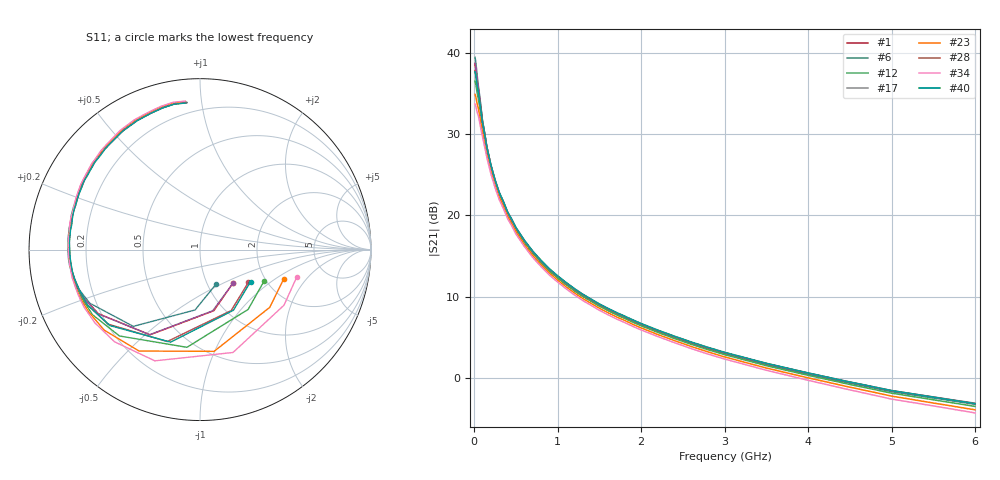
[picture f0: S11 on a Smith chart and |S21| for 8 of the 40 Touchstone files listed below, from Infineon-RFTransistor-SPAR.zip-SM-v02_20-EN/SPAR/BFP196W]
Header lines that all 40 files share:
! Infineon Technologies  Discrete & RF Semiconductors
! BFP196W
! Common Emitter S-Parameters:  Jan 2017
# GHz  S  MA  R  50
!  f  S11  S21  S12  S22
! GHz  MAG  ANG  MAG  ANG  MAG  ANG  MAG  ANG
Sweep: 10 MHz to 6 GHz
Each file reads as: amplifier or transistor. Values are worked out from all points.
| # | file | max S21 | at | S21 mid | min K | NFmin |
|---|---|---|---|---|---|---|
| 1 | BFP196W_w_noise_VCE_8.0V_IC_60mA.s2p | 38.6 dB | 10 MHz | 5.7 dB at 2.2 GHz | 0.15 | 1.47 dB |
| 2 | BFP196W_w_noise_VCE_8.0V_IC_65mA.s2p | 38.8 dB | 10 MHz | 5.7 dB at 2.2 GHz | 0.17 | 1.51 dB |
| 3 | BFP196W_w_noise_VCE_8.0V_IC_70mA.s2p | 39.0 dB | 10 MHz | 5.7 dB at 2.2 GHz | 0.16 | 1.58 dB |
| 4 | BFP196W_w_noise_VCE_8.0V_IC_75mA.s2p | 39.2 dB | 10 MHz | 5.7 dB at 2.2 GHz | 0.17 | 1.62 dB |
| 5 | BFP196W_w_noise_VCE_8.0V_IC_80mA.s2p | 39.4 dB | 10 MHz | 5.7 dB at 2.2 GHz | 0.17 | 1.68 dB |
| 6 | BFP196W_w_noise_VCE_8.0V_IC_85mA.s2p | 39.5 dB | 10 MHz | 5.7 dB at 2.2 GHz | 0.19 | 1.73 dB |
| 7 | BFP196W_w_noise_VCE_9.0V_IC_5.0mA.s2p | 24.3 dB | 10 MHz | 1.4 dB at 2.2 GHz | -0.03 | 0.90 dB |
| 8 | BFP196W_w_noise_VCE_9.0V_IC_10mA.s2p | 29.5 dB | 10 MHz | 3.6 dB at 2.2 GHz | 0.02 | 0.91 dB |
| 9 | BFP196W_w_noise_VCE_9.0V_IC_20mA.s2p | 33.8 dB | 10 MHz | 5.0 dB at 2.2 GHz | 0.01 | 1.02 dB |
| 10 | BFP196W_w_noise_VCE_9.0V_IC_25mA.s2p | 35.0 dB | 10 MHz | 5.3 dB at 2.2 GHz | 0.06 | 1.07 dB |
| 11 | BFP196W_w_noise_VCE_9.0V_IC_30mA.s2p | 35.9 dB | 10 MHz | 5.5 dB at 2.2 GHz | 0.09 | 1.13 dB |
| 12 | BFP196W_w_noise_VCE_9.0V_IC_35mA.s2p | 36.5 dB | 10 MHz | 5.6 dB at 2.2 GHz | 0.09 | 1.19 dB |
| 13 | BFP196W_w_noise_VCE_9.0V_IC_40mA.s2p | 37.1 dB | 10 MHz | 5.7 dB at 2.2 GHz | 0.12 | 1.24 dB |
| 14 | BFP196W_w_noise_VCE_9.0V_IC_45mA.s2p | 37.6 dB | 10 MHz | 5.7 dB at 2.2 GHz | 0.12 | 1.31 dB |
| 15 | BFP196W_w_noise_VCE_9.0V_IC_50mA.s2p | 37.9 dB | 10 MHz | 5.8 dB at 2.2 GHz | 0.11 | 1.36 dB |
| 16 | BFP196W_w_noise_VCE_9.0V_IC_60mA.s2p | 38.5 dB | 10 MHz | 5.8 dB at 2.2 GHz | 0.16 | 1.47 dB |
| 17 | BFP196W_w_noise_VCE_9.0V_IC_65mA.s2p | 38.8 dB | 10 MHz | 5.8 dB at 2.2 GHz | 0.16 | 1.51 dB |
| 18 | BFP196W_w_noise_VCE_9.0V_IC_70mA.s2p | 38.9 dB | 10 MHz | 5.8 dB at 2.2 GHz | 0.17 | 1.58 dB |
| 19 | BFP196W_w_noise_VCE_9.0V_IC_75mA.s2p | 39.1 dB | 10 MHz | 5.8 dB at 2.2 GHz | 0.18 | 1.62 dB |
| 20 | BFP196W_w_noise_VCE_10.V_IC_5.0mA.s2p | 24.3 dB | 10 MHz | 1.4 dB at 2.2 GHz | 0.01 | 0.90 dB |
| 21 | BFP196W_w_noise_VCE_10.V_IC_10mA.s2p | 29.5 dB | 10 MHz | 3.7 dB at 2.2 GHz | 0.04 | 0.91 dB |
| 22 | BFP196W_w_noise_VCE_10.V_IC_20mA.s2p | 33.8 dB | 10 MHz | 5.0 dB at 2.2 GHz | 0.07 | 1.02 dB |
| 23 | BFP196W_w_noise_VCE_10.V_IC_25mA.s2p | 34.9 dB | 10 MHz | 5.3 dB at 2.2 GHz | 0.08 | 1.07 dB |
| 24 | BFP196W_w_noise_VCE_10.V_IC_30mA.s2p | 35.8 dB | 10 MHz | 5.5 dB at 2.2 GHz | 0.11 | 1.13 dB |
| 25 | BFP196W_w_noise_VCE_10.V_IC_35mA.s2p | 36.5 dB | 10 MHz | 5.6 dB at 2.2 GHz | 0.10 | 1.19 dB |
| 26 | BFP196W_w_noise_VCE_10.V_IC_40mA.s2p | 37.0 dB | 10 MHz | 5.7 dB at 2.2 GHz | 0.14 | 1.24 dB |
| 27 | BFP196W_w_noise_VCE_10.V_IC_45mA.s2p | 37.5 dB | 10 MHz | 5.8 dB at 2.2 GHz | 0.16 | 1.31 dB |
| 28 | BFP196W_w_noise_VCE_10.V_IC_50mA.s2p | 37.8 dB | 10 MHz | 5.8 dB at 2.2 GHz | 0.16 | 1.36 dB |
| 29 | BFP196W_w_noise_VCE_10.V_IC_60mA.s2p | 38.4 dB | 10 MHz | 5.9 dB at 2.2 GHz | 0.18 | 1.47 dB |
| 30 | BFP196W_w_noise_VCE_10.V_IC_65mA.s2p | 38.6 dB | 10 MHz | 5.9 dB at 2.2 GHz | 0.20 | 1.51 dB |
| 31 | BFP196W_w_noise_VCE_10.V_IC_70mA.s2p | 38.8 dB | 10 MHz | 5.8 dB at 2.2 GHz | 0.18 | 1.58 dB |
| 32 | BFP196W_w_noise_VCE_11.V_IC_5.0mA.s2p | 24.3 dB | 10 MHz | 1.5 dB at 2.2 GHz | -0.01 | 0.90 dB |
| 33 | BFP196W_w_noise_VCE_11.V_IC_10mA.s2p | 29.5 dB | 10 MHz | 3.7 dB at 2.2 GHz | 0.00 | 0.91 dB |
| 34 | BFP196W_w_noise_VCE_11.V_IC_20mA.s2p | 33.7 dB | 10 MHz | 5.1 dB at 2.2 GHz | 0.12 | 1.02 dB |
| 35 | BFP196W_w_noise_VCE_11.V_IC_25mA.s2p | 34.8 dB | 10 MHz | 5.4 dB at 2.2 GHz | 0.12 | 1.07 dB |
| 36 | BFP196W_w_noise_VCE_11.V_IC_30mA.s2p | 35.7 dB | 10 MHz | 5.6 dB at 2.2 GHz | 0.13 | 1.13 dB |
| 37 | BFP196W_w_noise_VCE_11.V_IC_35mA.s2p | 36.4 dB | 10 MHz | 5.7 dB at 2.2 GHz | 0.15 | 1.19 dB |
| 38 | BFP196W_w_noise_VCE_11.V_IC_40mA.s2p | 36.9 dB | 10 MHz | 5.8 dB at 2.2 GHz | 0.18 | 1.24 dB |
| 39 | BFP196W_w_noise_VCE_11.V_IC_45mA.s2p | 37.3 dB | 10 MHz | 5.8 dB at 2.2 GHz | 0.18 | 1.31 dB |
| 40 | BFP196W_w_noise_VCE_11.V_IC_50mA.s2p | 37.7 dB | 10 MHz | 5.9 dB at 2.2 GHz | 0.19 | 1.36 dB |

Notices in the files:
Hoja de datos/BFP 450/Infineon-RFTransistor-SPAR.zip-SM-v02_20-EN/SPAR/BFP196W/BFP196W_w_noise_VCE_10.V_IC_10mA.s2p:
(c) 2017  Infineon Technologies AG, Munich
